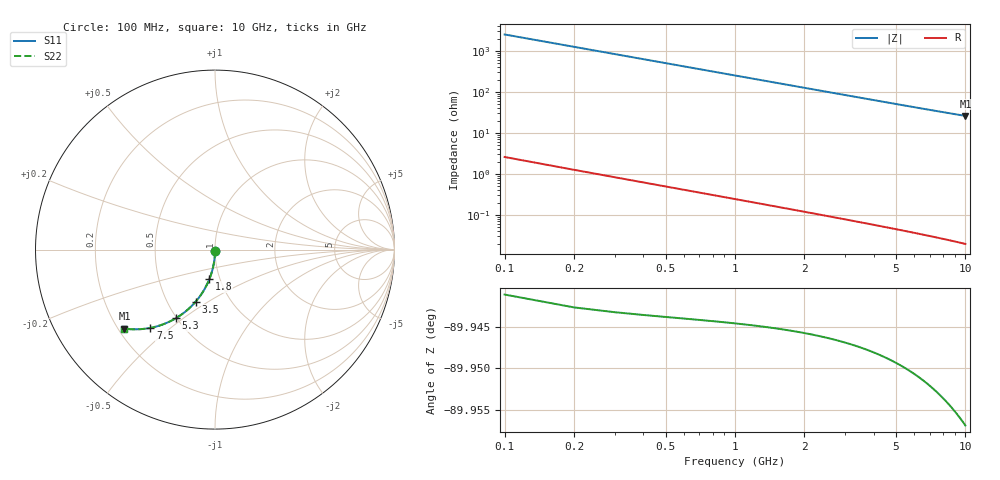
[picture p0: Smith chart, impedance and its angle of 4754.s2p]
# Hz S RI R 50.00
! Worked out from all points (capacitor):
!   100 points, 100 MHz to 10 GHz, reference 50 ohm
!   read as one part in shunt: C = 630 fF near 100 MHz
!   lowest |Z| = 26.1 ohm at 10 GHz (marker M1)
!   S11 on the Smith chart (normalised r, x): 100 MHz: 1.00, -0.02; 1.8 GHz: 0.89, -0.30; 3.5 GHz: 0.69, -0.44; 5.3 GHz: 0.50, -0.47; 7.5 GHz: 0.33, -0.43; 10 GHz: 0.22, -0.36
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1e8  0.000127 -0.00932  0.9997 -0.0105  0.9997 -0.0105  0.000127 -0.00932
2e8  -0.000174 -0.0186  0.9994 -0.0209  0.9994 -0.0209  -0.000174 -0.0186
3e8  -0.00067 -0.0279  0.9988 -0.0314  0.9988 -0.0314  -0.00067 -0.0279
4e8  -0.00136 -0.0372  0.9982 -0.0418  0.9982 -0.0418  -0.00136 -0.0372
5e8  -0.00224 -0.0465  0.9973 -0.0523  0.9973 -0.0523  -0.00224 -0.0465
6e8  -0.00332 -0.0557  0.9962 -0.0626  0.9962 -0.0626  -0.00332 -0.0557
8e8  -0.00605 -0.0741  0.9934 -0.0833  0.9934 -0.0833  -0.00605 -0.0741
1.1e9  -0.0115 -0.1013  0.9879 -0.114  0.9879 -0.114  -0.0115 -0.1013
1.4e9  -0.0187 -0.1279  0.9807 -0.1441  0.9807 -0.1441  -0.0187 -0.1279
1.8e9  -0.0306 -0.1624  0.9686 -0.1832  0.9686 -0.1832  -0.0306 -0.1624
2.1e9  -0.0413 -0.1873  0.9579 -0.2116  0.9579 -0.2116  -0.0413 -0.1873
2.5e9  -0.0577 -0.219  0.9414 -0.248  0.9414 -0.248  -0.0577 -0.219
2.9e9  -0.0762 -0.2489  0.9227 -0.2825  0.9227 -0.2825  -0.0762 -0.2489
3.4e9  -0.102 -0.2833  0.8967 -0.3228  0.8967 -0.3228  -0.102 -0.2833
3.5e9  -0.1075 -0.2898  0.8912 -0.3304  0.8912 -0.3304  -0.1075 -0.2898
4.3e9  -0.1543 -0.3365  0.844 -0.3865  0.844 -0.3865  -0.1543 -0.3365
5.1e9  -0.2048 -0.3741  0.7929 -0.4336  0.7929 -0.4336  -0.2048 -0.3741
5.3e9  -0.2177 -0.3821  0.7798 -0.4439  0.7798 -0.4439  -0.2177 -0.3821
6.7e9  -0.3094 -0.4232  0.687 -0.5017  0.687 -0.5017  -0.3094 -0.4232
7.5e9  -0.3605 -0.4362  0.635 -0.5243  0.635 -0.5243  -0.3605 -0.4362
8.4e9  -0.4155 -0.4432  0.579 -0.5422  0.579 -0.5422  -0.4155 -0.4432
1e10  -0.5044 -0.4401  0.488 -0.5587  0.488 -0.5587  -0.5044 -0.4401
